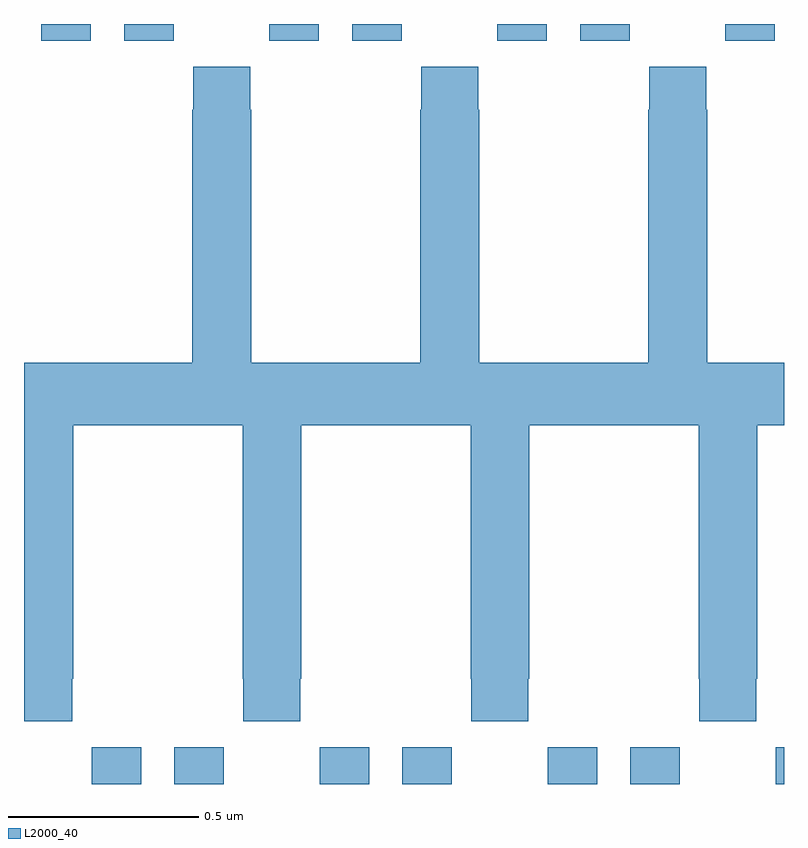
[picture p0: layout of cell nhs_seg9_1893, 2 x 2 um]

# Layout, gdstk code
import gdstk
lib = gdstk.Library(unit=1e-6, precision=1e-09)
def R(c, l, rs):  # rectangles x0, y0, x1, y1
    for r in rs: c.add(gdstk.rectangle(r[:2], r[2:], *l))
def P(c, l, *ps):  # polygons
    for p in ps: c.add(gdstk.Polygon(p, *l))
L2000_40 = (2000, 40)

nhs_seg9_1893 = lib.new_cell('nhs_seg9_1893')
R(nhs_seg9_1893, L2000_40, [(134.178,1171.5,134.308,1171.597), (134.396,1171.5,134.526,1171.597), (134.778,1171.5,134.908,1171.597), (134.996,1171.5,135.126,1171.597), (135.378,1171.5,135.508,1171.597), (135.596,1171.5,135.726,1171.597), (135.978,1171.5,136,1171.597), (134.046,1173.456,134.176,1173.5), (134.264,1173.456,134.394,1173.5), (134.646,1173.456,134.776,1173.5), (134.864,1173.456,134.994,1173.5), (135.246,1173.456,135.376,1173.5), (135.464,1173.456,135.594,1173.5), (135.846,1173.456,135.976,1173.5)])
P(nhs_seg9_1893, L2000_40, [(135.045,1173.388),(135.045,1173.275),(135.043,1173.275),(135.043,1172.608),(134.598,1172.608),(134.598,1173.275),(134.595,1173.275),(134.595,1173.388),(134.445,1173.388),(134.445,1173.275),(134.443,1173.275),(134.443,1172.608),(134,1172.608),(134,1171.665),(134.127,1171.665),(134.127,1171.777),(134.13,1171.777),(134.13,1172.444),(134.575,1172.444),(134.575,1171.777),(134.577,1171.777),(134.577,1171.665),(134.727,1171.665),(134.727,1171.777),(134.73,1171.777),(134.73,1172.444),(135.175,1172.444),(135.175,1171.777),(135.177,1171.777),(135.177,1171.665),(135.327,1171.665),(135.327,1171.777),(135.33,1171.777),(135.33,1172.444),(135.775,1172.444),(135.775,1171.777),(135.777,1171.777),(135.777,1171.665),(135.927,1171.665),(135.927,1171.777),(135.93,1171.777),(135.93,1172.444),(136,1172.444),(136,1172.608),(135.798,1172.608),(135.798,1173.275),(135.795,1173.275),(135.795,1173.388),(135.645,1173.388),(135.645,1173.275),(135.643,1173.275),(135.643,1172.608),(135.198,1172.608),(135.198,1173.275),(135.195,1173.275),(135.195,1173.388)])

lib.write_gds('nhs_seg9_1893.gds')
